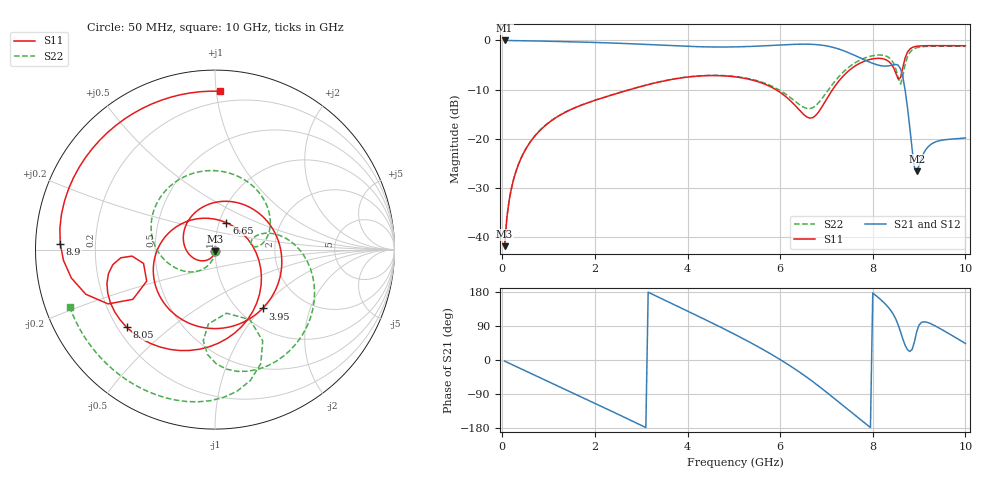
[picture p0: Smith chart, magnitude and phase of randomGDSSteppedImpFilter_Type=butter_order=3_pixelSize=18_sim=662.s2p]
! freq	dB(S11)	phase(S11)	dB(S12)	phase(S12)
!  dB(S21)	phase(S21)	dB(S22)	phase(S22)
!S-par simulation data
#  GHz  S  DB  R 50
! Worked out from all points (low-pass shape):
!   200 points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, 50 MHz to 10 GHz, reference 50 ohm
!   highest |S21| = -0.01 dB at 50 MHz (marker M1); lowest = -26.6 dB at 8.95 GHz (marker M2)
!   |S21| within 3 dB of the highest: start of sweep to 7.603 GHz
!   lowest |S11| = -41.8 dB at 50 MHz (marker M3), VSWR 1.02, Z = 50 - j0.814 ohm
!   |S11| at or under -10 dB: start of sweep to 2.749 GHz; 5.91 GHz to 7.131 GHz (1.221 GHz wide, 18.7 % of centre)
!   |S22| runs from -41.7 to -1.1 dB; largest |S21 - S12| = 0
!   S11 on the Smith chart (normalised r, x): 50 MHz: 1.00, -0.02; 3.95 GHz: 1.27, -1.01; 6.65 GHz: 1.08, +0.33; 8.05 GHz: 0.24, -0.36; 8.9 GHz: 0.07, +0.02; 10 GHz: 0.13, +1.02
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0.05  -41.77 -92.7  -0.01 -2.9  -0.01 -2.9  -41.73 -90.6
0.2  -29.92 -105.3  -0.02 -11.6  -0.02 -11.6  -29.88 -97.2
0.5  -22.17 -129.4  -0.07 -28.7  -0.07 -28.7  -22.13 -109.0
1.15  -15.72 178.5  -0.20 -65.8  -0.20 -65.8  -15.69 -131.6
1.75  -12.99 127.9  -0.34 -100.0  -0.34 -100.0  -12.98 -149.6
2.65  -10.27 49.4  -0.62 -152.0  -0.62 -152.0  -10.26 -174.6
3.4  -8.41 -11.5  -0.95 164.3  -0.95 164.3  -8.39 159.2
3.95  -7.50 -51.1  -1.19 132.1  -1.19 132.1  -7.47 135.0
5.05  -7.42 -121.5  -1.31 65.8  -1.31 65.8  -7.34 74.5
5.95  -10.23 174.6  -0.95 4.9  -0.95 4.9  -9.90 18.9
6.65  -15.77 67.0  -0.78 -52.1  -0.78 -52.1  -13.82 10.9
6.7  -15.68 53.9  -0.80 -56.6  -0.80 -56.6  -13.67 13.2
7.05  -11.19 -22.5  -1.20 -89.8  -1.20 -89.8  -9.92 16.7
7.45  -6.42 -76.7  -2.38 -129.5  -2.38 -129.5  -5.68 -7.5
8.05  -3.67 -138.7  -4.82 171.9  -4.82 171.9  -3.03 -57.1
8.35  -4.31 -167.2  -5.16 137.0  -5.16 137.0  -3.48 -84.4
8.55  -7.84 -169.0  -5.04 92.2  -5.04 92.2  -7.62 -95.0
8.65  -5.44 -148.8  -7.46 55.0  -7.46 55.0  -7.21 -63.5
8.9  -1.28 177.8  -25.77 48.1  -25.77 48.1  -1.66 -86.9
8.95  -1.18 172.1  -26.61 75.5  -26.61 75.5  -1.49 -91.9
9.45  -1.06 128.7  -20.33 83.2  -20.33 83.2  -1.14 -127.7
10  -1.08 88.2  -19.80 43.7  -19.80 43.7  -1.21 -158.6
